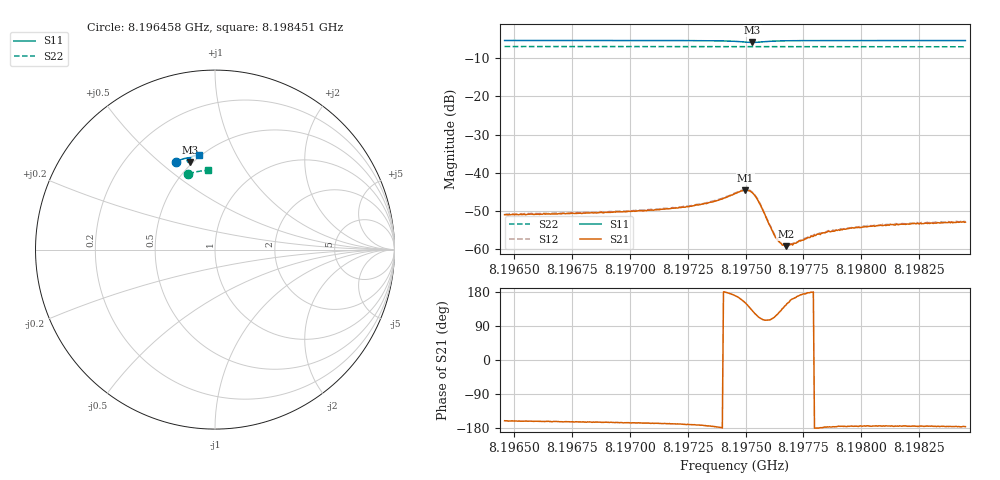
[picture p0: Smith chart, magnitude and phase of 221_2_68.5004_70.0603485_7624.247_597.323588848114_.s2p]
#  HZ  S  RI  R  50.00
! Rohde & Schwarz Vector Network Analyzer
! Rohde-Schwarz,ZNB20-2Port,1311601062101988,3.16
! Created: UTC 3/20/2024, 5:13:39 PM
! freq[Hz]  re:S11  im:S11  re:S21  im:S21  re:S12  im:S12  re:S22  im:S22
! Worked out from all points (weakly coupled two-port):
!   401 points, 8.196458 GHz to 8.198451 GHz, reference 50 ohm
!   highest |S21| = -44.54 dB at 8.197499 GHz (marker M1); lowest = -59.2 dB at 8.197673 GHz (marker M2)
!   lowest |S11| = -5.9 dB at 8.197529 GHz (marker M3), VSWR 3.04, Z = 24.2 + j31.6 ohm
!   |S11| at or under -10 dB: nowhere
!   |S22| runs from -7.1 to -7.0 dB; largest |S21 - S12| = 0.00028
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8.1964577e9  -0.218 0.4902  -0.00266 -0.000952  -0.00275 -0.000846  -0.148 0.4221
8.1967915e9  -0.1953 0.4994  -0.00282 -0.00082  -0.00293 -0.000732  -0.1298 0.4274
8.1971253e9  -0.171 0.5073  -0.0032 -0.000731  -0.00332 -0.000599  -0.1115 0.4319
8.1972449e9  -0.161 0.5095  -0.00357 -0.000606  -0.00364 -0.000495  -0.1049 0.4334
8.1973246e9  -0.1533 0.5105  -0.00395 -0.000489  -0.00401 -0.00034  -0.1004 0.4343
8.1973894e9  -0.1456 0.51  -0.00447 -0.000173  -0.00455 5.1e-05  -0.0967 0.4349
8.1974542e9  -0.1361 0.5049  -0.00527 0.00093  -0.00531 0.00114  -0.0931 0.4353
8.197499e9  -0.133 0.4933  -0.00517 0.0029  -0.00512 0.00315  -0.0907 0.4355
8.197514e9  -0.1358 0.4886  -0.00451 0.00368  -0.00446 0.00395  -0.0898 0.4356
8.1975289e9  -0.1407 0.4856  -0.00355 0.00418  -0.00345 0.00443  -0.0892 0.4357
8.1975439e9  -0.1467 0.4856  -0.00246 0.00419  -0.00233 0.00438  -0.0885 0.4359
8.1975588e9  -0.1515 0.4883  -0.00152 0.00374  -0.00143 0.0039  -0.0878 0.4361
8.1976136e9  -0.1544 0.5022  -0.000578 0.00169  -0.000515 0.00175  -0.0849 0.4368
8.1976286e9  -0.1532 0.5048  -0.000621 0.00131  -0.000584 0.00137  -0.0841 0.437
8.1976535e9  -0.1505 0.5081  -0.000782 0.000909  -0.000754 0.000924  -0.0826 0.4374
8.1976734e9  -0.1484 0.51  -0.000889 0.000643  -0.000883 0.000696  -0.0816 0.4377
8.1977033e9  -0.1452 0.5123  -0.00107 0.000367  -0.00109 0.00047  -0.0799 0.4378
8.197788e9  -0.1373 0.5161  -0.00147 3.65e-05  -0.00149 8.2e-05  -0.0749 0.4386
8.1978528e9  -0.1318 0.5181  -0.00168 -0.000102  -0.00172 -2.5e-05  -0.0714 0.439
8.1979524e9  -0.1238 0.5203  -0.00188 -0.000175  -0.00191 -0.000134  -0.0658 0.4397
8.1981218e9  -0.1109 0.5234  -0.00205 -0.000218  -0.00211 -0.000146  -0.0561 0.4408
8.1984506e9  -0.087 0.5277  -0.00226 -0.000161  -0.00232 -5.68e-05  -0.0377 0.4421
